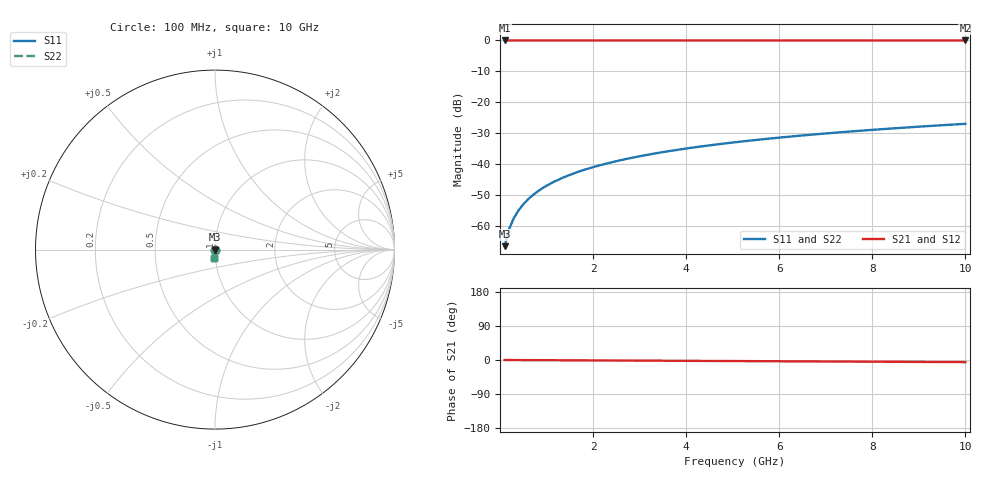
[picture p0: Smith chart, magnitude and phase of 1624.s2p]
# Hz S RI R 50.00
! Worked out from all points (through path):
!   100 points, 100 MHz to 10 GHz, reference 50 ohm
!   highest |S21| = 0.00 dB at 100 MHz (marker M1); lowest = 0.0 dB at 10 GHz (marker M2)
!   lowest |S11| = -66.6 dB at 100 MHz (marker M3), VSWR 1.00, Z = 50 - j0.0444 ohm
!   |S11| at or under -10 dB: start of sweep to end of sweep
!   |S22| runs from -66.6 to -27.0 dB; largest |S21 - S12| = 0
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1e8  0.000148 -0.000444  0.9998 -0.00097  0.9998 -0.00097  0.000148 -0.000444
2e8  0.000147 -0.000888  0.9998 -0.00194  0.9998 -0.00194  0.000147 -0.000888
3e8  0.000145 -0.00133  0.9998 -0.00291  0.9998 -0.00291  0.000145 -0.00133
4e8  0.000142 -0.00178  0.9998 -0.00388  0.9998 -0.00388  0.000142 -0.00178
5e8  0.000138 -0.00222  0.9998 -0.00485  0.9998 -0.00485  0.000138 -0.00222
6e8  0.000133 -0.00267  0.9998 -0.00582  0.9998 -0.00582  0.000133 -0.00267
7e8  0.000127 -0.00311  0.9998 -0.00679  0.9998 -0.00679  0.000127 -0.00311
8e8  0.000121 -0.00355  0.9998 -0.00776  0.9998 -0.00776  0.000121 -0.00355
9e8  0.000113 -0.004  0.9998 -0.00873  0.9998 -0.00873  0.000113 -0.004
1.1e9  9.51e-05 -0.00489  0.9998 -0.0107  0.9998 -0.0107  9.51e-05 -0.00489
1.4e9  6.16e-05 -0.00622  0.9997 -0.0136  0.9997 -0.0136  6.16e-05 -0.00622
1.8e9  4.72e-06 -0.008  0.9996 -0.0175  0.9996 -0.0175  4.72e-06 -0.008
2.1e9  -4.71e-05 -0.00934  0.9996 -0.0204  0.9996 -0.0204  -4.71e-05 -0.00934
2.5e9  -0.000128 -0.0111  0.9995 -0.0243  0.9995 -0.0243  -0.000128 -0.0111
2.9e9  -0.000224 -0.0129  0.9993 -0.0282  0.9993 -0.0282  -0.000224 -0.0129
3.4e9  -0.000362 -0.0151  0.9992 -0.033  0.9992 -0.033  -0.000362 -0.0151
4.2e9  -0.00063 -0.0187  0.9988 -0.0408  0.9988 -0.0408  -0.00063 -0.0187
5.1e9  -0.000998 -0.0227  0.9983 -0.0496  0.9983 -0.0496  -0.000998 -0.0227
5.9e9  -0.00138 -0.0263  0.9978 -0.0574  0.9978 -0.0574  -0.00138 -0.0263
6.7e9  -0.00183 -0.0298  0.9972 -0.0652  0.9972 -0.0652  -0.00183 -0.0298
8.4e9  -0.00296 -0.0374  0.9957 -0.0818  0.9957 -0.0818  -0.00296 -0.0374
1e10  -0.00425 -0.0445  0.994 -0.0974  0.994 -0.0974  -0.00425 -0.0445
